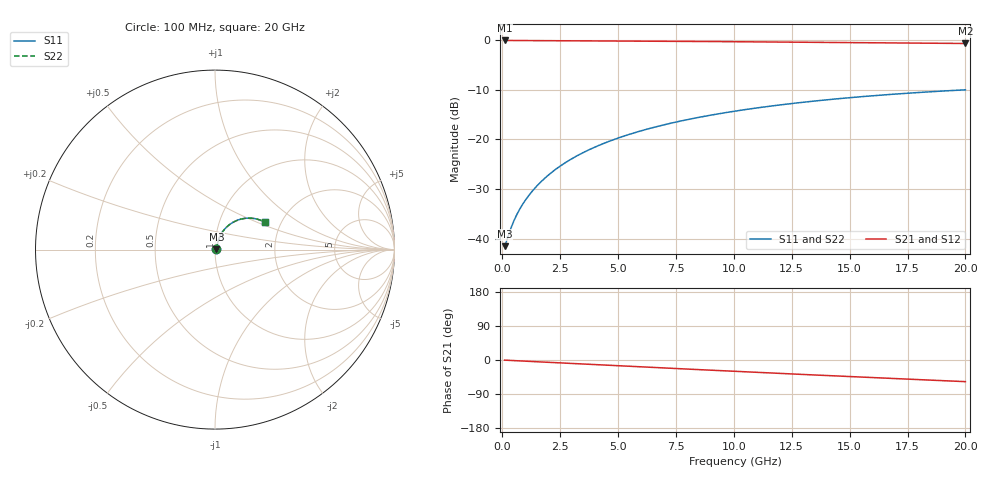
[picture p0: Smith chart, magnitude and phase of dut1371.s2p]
! Touchstone file exported from HFSS 2026.1.0
!  File:  C:/ffzhzh/LocalFiles/Ansys_Project_Files/temp_train_BSMRDL_1371_1783179364_22436.aedt
!  Generated:  11:37:35 PM Jul  4, 2026
!  Design:  BSMRDL
!  Project:  temp_train_BSMRDL_1371_1783179364_22436
! Variables:
!  h_bsmrdl = 2.94um
!  h_ox = 20um
!  h_rdl = 5um
!  h_sub = 80um
!  h_tmrdl = 5um
!  h_tsv = 80um
!  h_via = 3um
!  l_bsmrdl = 985.51um
!  l_sub = 1385.51um
!  l_tmrdl = 200um
!  m_sub = 200um
!  pitch = 24.11um
!  r_tsv = 6um
!  s_tmrdl = 10um
!  w_bsmrdl = 14.93um
!  w_sub = 500um
!  w_tmrdl = 12um
!  x_tsv_center1 = 206um
!  x_tsv_center2 = 1206.44um
!  x_tsv_center3 = 1418.44um
!  x_tsv_center4 = 2418.88um
!  x_tsv_center5 = 2630.88um
!  x_tsv_center6 = 3631.32um
# GHz S MA R 50.000000
! Terminal data exported
! Port[1] = BSM_RDL1_1_T1
! Port[2] = BSM_RDL1_1_T2
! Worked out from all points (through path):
!   200 points, 100 MHz to 20 GHz, reference 50 ohm
!   highest |S21| = -0.07 dB at 100 MHz (marker M1); lowest = -0.7 dB at 20 GHz (marker M2)
!   group delay of S21, straight-line fit = 7.92 ps
!   lowest |S11| = -41.5 dB at 100 MHz (marker M3), VSWR 1.02, Z = 50.8 + j0.261 ohm
!   |S11| at or under -10 dB: start of sweep to end of sweep
!   |S22| runs from -41.5 to -10.0 dB; largest |S21 - S12| = 3.9e-15
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0.1  0.008416 17.7  0.992 -0.3  0.992 -0.3  0.008416 17.7
! Gamma 0 0 0 0
! Port Impedance 50 0 50 0
0.4  0.01325 46.5  0.991 -1.3  0.991 -1.3  0.01325 46.5
0.6  0.017 54.1  0.9904 -1.9  0.9904 -1.9  0.017 54.0
0.7  0.01887 56.6  0.9901 -2.2  0.9901 -2.2  0.01887 56.6
0.9  0.02261 60.6  0.9897 -2.8  0.9897 -2.8  0.02261 60.6
1.1  0.02639 63.4  0.9893 -3.4  0.9893 -3.4  0.02639 63.4
1.3  0.03022 65.4  0.989 -4.0  0.989 -4.0  0.03023 65.4
1.5  0.0341 67.0  0.9887 -4.6  0.9887 -4.6  0.0341 67.0
1.8  0.03998 68.5  0.9883 -5.5  0.9883 -5.5  0.03999 68.5
2.3  0.0499 69.9  0.9875 -7.0  0.9875 -7.0  0.0499 69.9
2.9  0.06187 70.3  0.9865 -8.9  0.9865 -8.9  0.06187 70.2
3.5  0.07381 69.9  0.9852 -10.7  0.9852 -10.7  0.07381 69.9
4.2  0.08762 69.0  0.9836 -12.8  0.9836 -12.8  0.08763 68.9
5  0.1032 67.5  0.9814 -15.2  0.9814 -15.2  0.1032 67.4
5.9  0.1203 65.5  0.9787 -17.8  0.9787 -17.8  0.1203 65.4
6.8  0.137 63.3  0.9757 -20.5  0.9757 -20.5  0.137 63.3
8.3  0.1636 59.5  0.9702 -24.9  0.9702 -24.9  0.1636 59.4
10.1  0.1935 54.7  0.9631 -30.0  0.9631 -30.0  0.1935 54.7
11.7  0.2182 50.5  0.9565 -34.6  0.9565 -34.6  0.2182 50.4
13.4  0.2423 46.0  0.9496 -39.3  0.9496 -39.3  0.2424 45.9
16.7  0.2832 37.4  0.9365 -48.3  0.9365 -48.3  0.2832 37.3
20  0.3159 29.0  0.925 -57.1  0.925 -57.1  0.316 28.9
